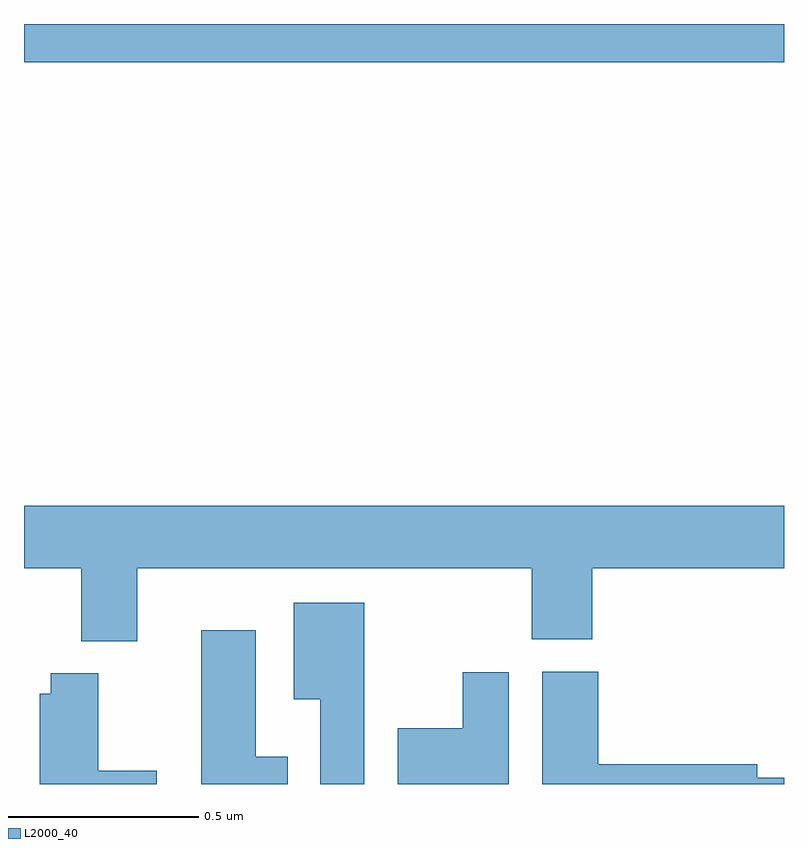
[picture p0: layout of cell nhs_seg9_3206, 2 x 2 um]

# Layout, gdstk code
import gdstk
lib = gdstk.Library(unit=1e-6, precision=1e-09)
def R(c, l, rs):  # rectangles x0, y0, x1, y1
    for r in rs: c.add(gdstk.rectangle(r[:2], r[2:], *l))
def P(c, l, *ps):  # polygons
    for p in ps: c.add(gdstk.Polygon(p, *l))
L2000_40 = (2000, 40)

nhs_seg9_3206 = lib.new_cell('nhs_seg9_3206')
R(nhs_seg9_3206, L2000_40, [(150,1216.4,152,1216.5)])
P(nhs_seg9_3206, L2000_40, [(150.298,1215.068),(151.336,1215.068),(151.336,1214.881),(151.496,1214.881),(151.496,1215.068),(152,1215.068),(152,1215.232),(150,1215.232),(150,1215.068),(150.151,1215.068),(150.151,1214.876),(150.298,1214.876)],
  [(150.895,1214.977),(150.71,1214.977),(150.71,1214.723),(150.779,1214.723),(150.779,1214.5),(150.895,1214.5)],
  [(150.694,1214.572),(150.61,1214.572),(150.61,1214.905),(150.467,1214.905),(150.467,1214.5),(150.694,1214.5)],
  [(152,1214.516),(151.93,1214.516),(151.93,1214.552),(151.511,1214.552),(151.511,1214.796),(151.364,1214.796),(151.364,1214.5),(152,1214.5)],
  [(151.276,1214.794),(151.154,1214.794),(151.154,1214.647),(150.983,1214.647),(150.983,1214.5),(151.276,1214.5)],
  [(150.349,1214.535),(150.196,1214.535),(150.196,1214.791),(150.071,1214.791),(150.071,1214.737),(150.041,1214.737),(150.041,1214.5),(150.349,1214.5)])

lib.write_gds('nhs_seg9_3206.gds')
